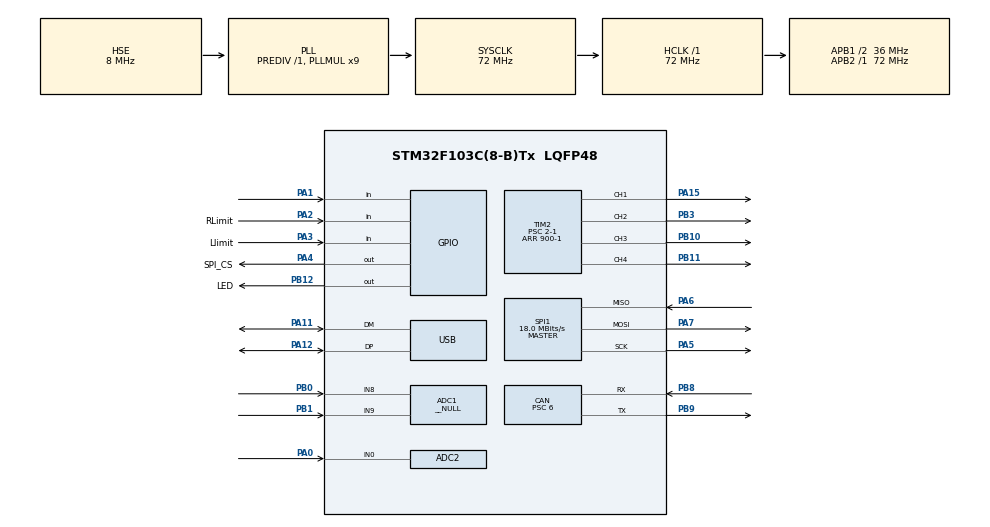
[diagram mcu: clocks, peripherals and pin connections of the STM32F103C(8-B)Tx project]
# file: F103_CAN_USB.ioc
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ADC1.Channel-1\#ChannelInjectedConversion=ADC_CHANNEL_8
ADC1.Channel-5\#ChannelRegularConversion=ADC_CHANNEL_TEMPSENSOR
ADC1.Channel-7\#ChannelInjectedConversion=ADC_CHANNEL_9
ADC1.ContinuousConvMode=DISABLE
ADC1.EnableInjectedConversion=ENABLE
ADC1.EnableRegularConversion=ENABLE
ADC1.ExternalTrigInjecConv=ADC_INJECTED_SOFTWARE_START
ADC1.InjNumberOfConversion=2
ADC1.InjectedOffset-1\#ChannelInjectedConversion=0
ADC1.InjectedOffset-7\#ChannelInjectedConversion=0
ADC1.InjectedRank-1\#ChannelInjectedConversion=1
ADC1.InjectedRank-7\#ChannelInjectedConversion=2
ADC1.Mode=__NULL
ADC1.NbrOfConversionFlag=1
ADC1.Rank-5\#ChannelRegularConversion=1
ADC1.SamplingTime-1\#ChannelInjectedConversion=ADC_SAMPLETIME_7CYCLES_5
ADC1.SamplingTime-5\#ChannelRegularConversion=ADC_SAMPLETIME_7CYCLES_5
ADC1.SamplingTime-7\#ChannelInjectedConversion=ADC_SAMPLETIME_7CYCLES_5
ADC1.master=1
ADC2.Channel-1\#ChannelRegularConversion=ADC_CHANNEL_0
ADC2.EnableInjectedConversion=DISABLE
ADC2.InjNumberOfConversion=1
ADC2.NbrOfConversionFlag=1
ADC2.Rank-1\#ChannelRegularConversion=1
ADC2.SamplingTime-1\#ChannelRegularConversion=ADC_SAMPLETIME_7CYCLES_5
CAN.BS1=CAN_BS1_7TQ
CAN.BS2=CAN_BS2_4TQ
CAN.CalculateBaudRate=499999
CAN.CalculateTimeBit=2000
CAN.CalculateTimeQuantum=166.66666666666669
CAN.Prescaler=6
CAN.SJW=CAN_SJW_1TQ
IWDG.Prescaler=IWDG_PRESCALER_64
Mcu.Family=STM32F1
Mcu.Name=STM32F103C(8-B)Tx
Mcu.Package=LQFP48
NVIC.ADC1_2_IRQn=true\:0\:0\:true\:false\:true\:true\:true\:true
NVIC.PriorityGroup=NVIC_PRIORITYGROUP_4
NVIC.TIM2_IRQn=true\:1\:0\:true\:false\:true\:true\:true\:true
NVIC.TIM3_IRQn=true\:2\:0\:true\:false\:true\:true\:true\:true
NVIC.USB_LP_CAN1_RX0_IRQn=true\:3\:0\:true\:false\:true\:false\:true\:true
PA0-WKUP.Signal=ADCx_IN0
PA1.Signal=GPIO_Input
PA11.Mode=Device
PA11.Signal=USB_DM
PA12.Mode=Device
PA12.Signal=USB_DP
PA13.Mode=Serial_Wire
PA13.Signal=SYS_JTMS-SWDIO
PA14.Mode=Serial_Wire
PA14.Signal=SYS_JTCK-SWCLK
PA15.Signal=S_TIM2_CH1_ETR
PA2.GPIO_Label=RLimit
PA2.GPIO_PuPd=GPIO_PULLDOWN
PA2.Signal=GPIO_Input
PA3.GPIO_Label=Llimit
PA3.GPIO_PuPd=GPIO_PULLDOWN
PA3.Signal=GPIO_Input
PA4.GPIO_Label=SPI_CS
PA4.Signal=GPIO_Output
PA5.Mode=Full_Duplex_Master
PA5.Signal=SPI1_SCK
PA6.Mode=Full_Duplex_Master
PA6.Signal=SPI1_MISO
PA7.Mode=Full_Duplex_Master
PA7.Signal=SPI1_MOSI
PB0.Signal=ADCx_IN8
PB1.Signal=ADCx_IN9
PB10.Signal=S_TIM2_CH3
PB11.Signal=S_TIM2_CH4
PB12.GPIO_Label=LED
PB12.Signal=GPIO_Output
PB3.Signal=S_TIM2_CH2
PB8.Mode=CAN_Activate
PB8.Signal=CAN_RX
PB9.Mode=CAN_Activate
PB9.Signal=CAN_TX
PD0-OSC_IN.Mode=HSE-External-Oscillator
PD0-OSC_IN.Signal=RCC_OSC_IN
PD1-OSC_OUT.Mode=HSE-External-Oscillator
PD1-OSC_OUT.Signal=RCC_OSC_OUT
ProjectManager.HeapSize=0x400
ProjectManager.StackSize=0x800
ProjectManager.TargetToolchain=MDK-ARM V5.32
RCC.ADCPresc=RCC_ADCPCLK2_DIV6
RCC.AHBFreq_Value=72000000
RCC.APB1CLKDivider=RCC_HCLK_DIV2
RCC.APB1Freq_Value=36000000
RCC.APB1TimFreq_Value=72000000
RCC.APB2Freq_Value=72000000
RCC.APB2TimFreq_Value=72000000
RCC.HCLKFreq_Value=72000000
RCC.PLLMUL=RCC_PLL_MUL9
RCC.PLLSourceVirtual=RCC_PLLSOURCE_HSE
RCC.SYSCLKFreq_VALUE=72000000
RCC.SYSCLKSource=RCC_SYSCLKSOURCE_PLLCLK
RCC.USBFreq_Value=48000000
RCC.USBPrescaler=RCC_USBCLKSOURCE_PLL_DIV1_5
SH.ADCx_IN0.0=ADC2_IN0,IN0
SH.ADCx_IN8.0=ADC1_IN8,IN8
SH.ADCx_IN9.0=ADC1_IN9,IN9
SH.S_TIM2_CH1_ETR.0=TIM2_CH1,PWM Generation1 CH1
SH.S_TIM2_CH2.0=TIM2_CH2,PWM Generation2 CH2
SH.S_TIM2_CH3.0=TIM2_CH3,PWM Generation3 CH3
SH.S_TIM2_CH4.0=TIM2_CH4,PWM Generation4 CH4
SPI1.BaudRatePrescaler=SPI_BAUDRATEPRESCALER_4
SPI1.CLKPhase=SPI_PHASE_2EDGE
SPI1.CLKPolarity=SPI_POLARITY_HIGH
SPI1.CalculateBaudRate=18.0 MBits/s
SPI1.DataSize=SPI_DATASIZE_16BIT
SPI1.Direction=SPI_DIRECTION_2LINES
SPI1.Mode=SPI_MODE_MASTER
SPI1.VirtualType=VM_MASTER
TIM2.AutoReloadPreload=TIM_AUTORELOAD_PRELOAD_ENABLE
TIM2.Channel-PWM\ Generation1\ CH1=TIM_CHANNEL_1
TIM2.Channel-PWM\ Generation2\ CH2=TIM_CHANNEL_2
TIM2.Channel-PWM\ Generation3\ CH3=TIM_CHANNEL_3
TIM2.Channel-PWM\ Generation4\ CH4=TIM_CHANNEL_4
TIM2.CounterMode=TIM_COUNTERMODE_CENTERALIGNED1
TIM2.OCFastMode_PWM-PWM\ Generation1\ CH1=TIM_OCFAST_DISABLE
TIM2.OCFastMode_PWM-PWM\ Generation2\ CH2=TIM_OCFAST_DISABLE
TIM2.OCFastMode_PWM-PWM\ Generation3\ CH3=TIM_OCFAST_DISABLE
TIM2.OCFastMode_PWM-PWM\ Generation4\ CH4=TIM_OCFAST_DISABLE
TIM2.OCMode_PWM-PWM\ Generation1\ CH1=TIM_OCMODE_PWM1
TIM2.OCMode_PWM-PWM\ Generation2\ CH2=TIM_OCMODE_PWM1
TIM2.OCMode_PWM-PWM\ Generation3\ CH3=TIM_OCMODE_PWM1
TIM2.OCMode_PWM-PWM\ Generation4\ CH4=TIM_OCMODE_PWM1
TIM2.Period=900-1
TIM2.Prescaler=2-1
TIM2.TIM_MasterOutputTrigger=TIM_TRGO_RESET
TIM2.TIM_MasterSlaveMode=TIM_MASTERSLAVEMODE_DISABLE
TIM3.CounterMode=TIM_COUNTERMODE_UP
TIM3.Period=499
TIM3.Prescaler=71
USB_DEVICE.CLASS_NAME_FS=CDC
USB_DEVICE.MANUFACTURER_STRING=JHM
USB_DEVICE.PRODUCT_STRING_CDC_FS=JHM_42_FOC
USB_DEVICE.VirtualMode=Cdc
USB_DEVICE.VirtualModeFS=Cdc_FS
VP_ADC1_TempSens_Input.Mode=IN-TempSens
VP_IWDG_VS_IWDG.Mode=IWDG_Activate
VP_TIM2_VS_ClockSourceINT.Mode=Internal
VP_TIM3_VS_ClockSourceINT.Mode=Internal
VP_USB_DEVICE_VS_USB_DEVICE_CDC_FS.Mode=CDC_FS
board=custom

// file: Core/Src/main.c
/* USER CODE BEGIN Header */
/**
  ******************************************************************************
  * @file           : main.c
  * @brief          : Main program body
  ******************************************************************************
  * @attention
  *
  * Copyright (c) 2025 STMicroelectronics.
  * All rights reserved.
  *
  * This software is licensed under terms that can be found in the LICENSE file
  * in the root directory of this software component.
  * If no LICENSE file comes with this software, it is provided AS-IS.
  *
  ******************************************************************************
  */

	/*！！！！！！作者声明！！！！！！！！ */
/**
  ******************************************************************************
  * JH_FOC_42V3步进电机FOC驱动器开源代码
	* 该代码已实现步进电机开环，电流闭环，速度-电流闭环，角度-电流闭环，电机非线性校准等
  * 注意该代码中的位置环代码绝大部分由AI生成，并非原厂位置环代码，控制效果不如原厂，需要自己优化！！
	* 注意该代码中的位置环代码绝大部分由AI生成，并非原厂位置环代码，控制效果不如原厂，需要自己优化！！
	* 注意该代码中的位置环代码绝大部分由AI生成，并非原厂位置环代码，控制效果不如原厂，需要自己优化！！
  ******************************************************************************
	* 代码绝大部分都是作者书写，或有不足，敬请指正！
	* 作者能力有限，代码可能阅读性不是特别友好，望包涵！
	  ******************************************************************************

	* 最后重点声明：该代码仅用于学习交流，禁止任何商业用途！！！！！
									该代码仅用于学习交流，禁止任何商业用途！！！！！
									该代码仅用于学习交流，禁止任何商业用途！！！！！
									该代码仅用于学习交流，禁止任何商业用途！！！！！
									该代码仅用于学习交流，禁止任何商业用途！！！！！
  ******************************************************************************

																					版权所有
																							淘宝店铺：JHive智控
																				      店铺链接：https://shop355919857.taobao.com/?spm=a21xtw.29978518.0.0
	                                                                 2026年7月8日

	******************************************************************************
  */
/* USER CODE END Header */
#include "main.h"
#include "adc.h"
#include "can.h"
#include "iwdg.h"
#include "spi.h"
#include "tim.h"
#include "usb_device.h"
#include "gpio.h"

/* USER CODE BEGIN Includes */
#include "float_char.h"
#include "adc_task.h"
#include "B_motor_foc.h"
#include "mos_set.h"
#include "mt6816.h"
#include "PID.h"
#include "connecting.h"
#include "filter.h"
#include "myflash.h"
#include "usbd_cdc_if.h"
#include "math.h"
#include "position_foc.h"
/* USER CODE END Includes */

/* USER CODE BEGIN PTD */
uint32_t add_angle;//角度累加，初始化用
float current[2],vol=0,temperature=0 ;//定义ADC物理量
uint8_t Iadjust=1;//电流校准标记
uint8_t cchar[8][4]={0};//定义浮点数转换后的数据缓存
uint8_t tail[4]={0x00, 0x00, 0x80, 0x7f};
extern int16_t  Scope[200];
extern uint16_t angledata[200];
extern uint16_t my_can_id;//CAN总线ID
extern float speed_send;
uint8_t yy=0;
uint8_t erro_flag=0;//发生错误标记
uint8_t limit_vol=0;//积分限幅电压
extern uint32_t save_data[20];

//////////////////////////////
uint8_t connect_type=0;//定义通信类型0：USB，1:CAN
float last_vol=10;//电压滤波

//////////////弱磁部分
float w_Uq=0;//Uq轴弱磁输出量
PID_Controller_t weak_mag_id; //id弱磁pid
PID_Controller_t weak_mag_iq;//iq弱磁pid
PID_Controller_t weak_mag_uq;//uq弱磁pid

uint16_t weak1_speed_save=400;  //保存的电机弱磁1临界速度
uint16_t weak2_speed_save=1000;  //保存的电机弱磁2临界速度
uint16_t  weak_speed_1 =400 ;         /////最终第一步弱磁临界速度
uint16_t weak_speed_2 =1000;         /////最终第二步弱磁临界速度
//读取错误时弱磁默认值
#define default_weak1 400
#define default_weak2 920

#define weak_Iq_min 0.2         //二阶段弱磁最小Iq电流，这个值和高速电流采样的精度相关，理论上越小越好，可以增大极限转速！如果该值太小，采样电流不准确则大概率会超速失调！
float spid_factor=0,s_kp0=0,s_ki0=0,s_kp=0,s_ki=0,s_kp1=0,s_ki1=0;//速度环PID调节因子，根据驱动电压适当调节
uint8_t t_speed=30;//低速PID参数转变速度
/* USER CODE END PTD */

/* USER CODE BEGIN PD */
uint16_t time_num=1;
/* USER CODE END PD */

/* USER CODE BEGIN PM */
////////定义保护函数
float check_iq=0,check_id=0;//过流检测变量，滤波存储用
void motor_protect(void)
{
  if(temperature >80||fabs(check_iq) >4||fabs(check_id)>4||(vol>40||vol<4))
	{
		//存在保护，关闭电机运行
		 connect_crt .motor_mode =0;
		 set_uduq (&m1_foc ,0,0);
		 foc_open  (&m1_foc ,0);
		 weak_mag_id .integral =0;weak_mag_iq.integral  =0;weak_mag_uq .integral =0;
		 w_Uq =0;speed_pi.actual_value=0;
		 m1_foc .tar_Id=0;m1_foc .tar_Iq=0;m1_foc .iq_inter=m1_foc .id_inter=0;
	//	stop_motor (&connect_crt );

//								uint8_t data[64] = {0};  // 适当增大缓冲区
//						char s[10] = {0};        // 增大缓冲区确保足够空间
//						char p[18] = {0};
//						char a[10] = {0};
//						char e[10] = {0};
//						char q[10] = {0};//返回Iq
//						int length = 0;

//						// 格式化字符串，保留三位小数
//						snprintf(s, sizeof(s), "%.3f", vol);
//						snprintf(p, sizeof(p), "%.3f", m1_foc .Iq);
//						snprintf(a, sizeof(a), "%.3f", m1_foc .Id);
//						snprintf(e, sizeof(e), "%.2f", temperature );
//
//						// 构建完整字符串
//						length = snprintf((char*)data, sizeof(data),
//							"v:%sid:%siq:%se:%st:%s\n",
//														 s, p, a, e,q);
//														CDC_Transmit_FS(data, length);  // 已经包含换行符

		if(erro_flag ==0)
		{
			if(connect_type ==0)
  	  CDC_Transmit_FS ("Protecting!\n",13);
			else
			{
			set_cantx_buf (0xff,0xff,0xff,0xff,0xff,0xff,0xff,0xff);//返回模式不匹配错误代码
			CAN_Transmit(&my_can_tx );
			}
		}
		erro_flag =1;
	}
	else if(mt6816_flag ==1)
		erro_flag =0;
}

//定义上电通信类型检测函数
void get_connect_type(void)
{
  uint8_t num=0;
	for(uint8_t i=0;i<200;i++)
	if(HAL_GPIO_ReadPin (GPIOA ,GPIO_PIN_1 )==1)
	{
		num++;
		HAL_Delay (1);
	}
	if(num>190)connect_type =0;
	else connect_type =1;

}
/* USER CODE END PM */

/* USER CODE BEGIN PV */
extern PCD_HandleTypeDef hpcd_USB_FS;
/* USER CODE END PV */

void SystemClock_Config(void);

int main(void)
{

  /* MCU Configuration--------------------------------------------------------*/

  /* Reset of all peripherals, Initializes the Flash interface and the Systick. */
  HAL_Init();

  /* Configure the system clock */
  SystemClock_Config();

  /* USER CODE BEGIN SysInit */
	//弱磁PID初始化
	 PID_Controller_Init(&weak_mag_id ,0.01,0.000005,0,0,-1.2,1.2);
	 PID_Controller_Init(&weak_mag_iq ,0.01,0.00001,0,0,-0,0.0);
	 PID_Controller_Init(&weak_mag_uq ,0.004,0.00002,0,0,-4,4);
  /* USER CODE END SysInit */

  /* Initialize all configured peripherals */
  MX_GPIO_Init();
  MX_ADC1_Init();
  MX_IWDG_Init();
  MX_SPI1_Init();
  MX_TIM2_Init();
 // MX_USB_DEVICE_Init();
  MX_ADC2_Init();
  MX_TIM3_Init();
  //MX_CAN_Init();
  /* USER CODE BEGIN 2 */
	  Flash_HAL_Read_N_32Data(0x0800FC00,(uint32_t *)save_data,20);//先读取保存的数据
		  my_can_id =*(volatile uint16_t*)0x0800FC04;//获取CANID
	  if(my_can_id >0x7ff)my_can_id =0x200;
		  //获取CAN时钟分频系数
			can_Prescaler =(*(__IO uint8_t *)(FLASH_USER_START_ADDR +0x44C));;
			if(can_Prescaler !=60&&can_Prescaler !=24&&can_Prescaler !=12&&can_Prescaler !=6&&can_Prescaler !=3)//范围不对，默认分频6，500kbps
				can_Prescaler =6;

			HAL_GPIO_WritePin (GPIOB ,GPIO_PIN_12,GPIO_PIN_SET );

			get_connect_type();
		//注释掉上述自动生产的初始化
	 if(connect_type ==0)//失能CAN通信
	 {
		 		 MX_CAN_Init();
	   HAL_CAN_MspDeInit (&hcan);
		 MX_USB_DEVICE_Init();
	 }
	 else
	 {
		CAN_Init();//初始化总线
	 }
    HAL_Delay (1000);//较大延时等待电脑识别USB
   HAL_TIM_PWM_Start(&htim2, TIM_CHANNEL_4);
	 HAL_TIM_PWM_Start(&htim2, TIM_CHANNEL_3);
	 HAL_TIM_PWM_Start(&htim2, TIM_CHANNEL_2);
	 HAL_TIM_PWM_Start(&htim2, TIM_CHANNEL_1);
	 HN1_set (900);HN2_set (900);HN3_set (900); HN4_set (900);
	 HAL_TIM_Base_Start_IT(&htim2);             //启动时钟

	 	HAL_ADCEx_Calibration_Start(&hadc1);    //ADC校准
	  HAL_ADCEx_Calibration_Start(&hadc2);    //ADC校准
		HAL_ADCEx_InjectedStart_IT(&hadc1);                       //启动ADC转换
	  HAL_Delay (10);
   float offettotal[2]={0};
	 		for(uint8_t k=0;k<100;k++)
		 {
			 HAL_IWDG_Refresh (&hiwdg );
			   offettotal [0]+=current [0];
				 offettotal [1]+=current [1];
			  vol+=get_vol ();
				 HAL_Delay (5);
			}
		 vol=vol*0.01;
			//若有驱动器最大电流问题，限制一下输出电压,按需开启
//			if(vol >16)
//			limit_vol =120/vol+0.5;
//			else limit_vol =8;
			//读取保存的弱磁临界速度
			weak1_speed_save =*(volatile uint16_t*)(FLASH_USER_START_ADDR +0x424);
			weak2_speed_save =*(volatile uint16_t*)(FLASH_USER_START_ADDR +0x428);
			if(weak1_speed_save >4000)weak1_speed_save =default_weak1;if(weak2_speed_save >8000)weak2_speed_save =default_weak2;

			spid_factor =12/vol;if(spid_factor >1)spid_factor =1;if(spid_factor <0.4)spid_factor =0.4;//根据输入电压调整一下速度环pid参数
			s_kp=spid_factor *0.008;s_ki=spid_factor *0.00004;
			s_kp0 =spid_factor*0.02;s_ki0=spid_factor*0.001;
			s_kp1 =spid_factor*0.04;s_ki1=spid_factor*0.0008;
			weak_speed_1 =weak1_speed_save +(vol-12)*10;weak_speed_2 =weak2_speed_save +(vol-12)*15;//根据电压简单改变弱磁转变速度
			//if(weak_speed_1>500)weak_speed_1 =500;//限制，防止跑飞
			t_speed =vol/12*30;

    offet_I [0]=0.01*offettotal [0];offet_I [1]=0.01*offettotal [1] ;
	  Iadjust =0;//完成校准

	 mt6816_flag =check_mt6816();//检查是否存在编码器
	 if(mt6816_flag ==0||(vol<5||vol>25))
		 erro_flag =1;

	 b_foc_init ();
	 init_connect_crt(&connect_crt );
	  HAL_TIM_Base_Start_IT(&htim3);

	 start_reset_waiting();//巡查是否需要复位，等待执行

  /* USER CODE END 2 */

  /* Infinite loop */
  /* USER CODE BEGIN WHILE */
  while (1)
  {

		HAL_IWDG_Refresh (&hiwdg );
		if(time_num %100==0)
		{
			vol=low_pass_filter(get_vol (),last_vol ,0.1);
			check_iq =low_pass_filter(m1_foc .Iq ,check_iq ,0.5);
			check_id =low_pass_filter(m1_foc .Id ,check_id ,0.5);
			last_vol =vol;
			temperature =get_temp ();
			motor_protect ();//检测各种参数保护
			weak_mag_id .output_max =speed_pi .output_max;weak_mag_id .output_min =speed_pi .output_min ;//循环限制弱磁Id的范围,防止大于iq，第一阶段弱磁反转
		}
		if(connect_type ==0)//采用USB通信模式
		usb_task ();
		else
		can_task ();

    speed_send =low_pass_filter (speed_pi .actual_value ,speed_send ,0.1);
		//yy++;if(yy>=200)yy=0;
			//	HAL_Delay (1);
//		    float_to_char(m1_foc .Id         ,cchar [0]);
//			  float_to_char(m1_foc .Iq      ,cchar [1]);
//				float_to_char(m1_foc .tar_Id        ,cchar [2]);
//				float_to_char(m1_foc .tar_Iq       ,cchar [3]);
//				float_to_char(m1_foc .Ud    ,cchar [4]);
//				float_to_char(m1_foc .Uq           ,cchar [5]);
//				float_to_char(m1_foc .Ibeta        ,cchar [6]);
//		    float_to_char(m1_foc .Ialpha         ,cchar [7]);
//				copy_to_vofa (cchar [0],0);
//		    copy_to_vofa (cchar [1],4);
//		    copy_to_vofa (cchar [2],8);
//		    copy_to_vofa (cchar [3],12);
//				    copy_to_vofa (cchar [4],16);
//				    copy_to_vofa (cchar [5],20);
//		    copy_to_vofa (cchar [6] ,24);
//			    copy_to_vofa (cchar [7] ,28);
//				    copy_to_vofa (tail ,32);
//		    CDC_Transmit_FS(vofa_char ,36);
		time_num ++;
    if(time_num >10000){time_num =1; }
//		if(time_num %5000==0)
//		{ if(m1_foc .tar_Id !=1)
//			m1_foc .tar_Id =1;
//			else 			m1_foc .tar_Id =-1;
//		}
		//if(time_num %5000==0)HAL_GPIO_TogglePin (GPIOB ,GPIO_PIN_12);
     if(erro_flag ==0)
			 HAL_GPIO_WritePin (GPIOB ,GPIO_PIN_12,GPIO_PIN_RESET );
		 else
			 HAL_GPIO_WritePin (GPIOB ,GPIO_PIN_12,GPIO_PIN_SET );
    /* USER CODE END WHILE */

  }
}

void SystemClock_Config(void)
{
  RCC_OscInitTypeDef RCC_OscInitStruct = {0};
  RCC_ClkInitTypeDef RCC_ClkInitStruct = {0};
  RCC_PeriphCLKInitTypeDef PeriphClkInit = {0};

  /** Initializes the RCC Oscillators according to the specified parameters
  * in the RCC_OscInitTypeDef structure.
  */
  RCC_OscInitStruct.OscillatorType = RCC_OSCILLATORTYPE_LSI|RCC_OSCILLATORTYPE_HSE;
  RCC_OscInitStruct.HSEState = RCC_HSE_ON;
  RCC_OscInitStruct.HSEPredivValue = RCC_HSE_PREDIV_DIV1;
  RCC_OscInitStruct.HSIState = RCC_HSI_ON;
  RCC_OscInitStruct.LSIState = RCC_LSI_ON;
  RCC_OscInitStruct.PLL.PLLState = RCC_PLL_ON;
  RCC_OscInitStruct.PLL.PLLSource = RCC_PLLSOURCE_HSE;
  RCC_OscInitStruct.PLL.PLLMUL = RCC_PLL_MUL9;
  if (HAL_RCC_OscConfig(&RCC_OscInitStruct) != HAL_OK)
  {
    Error_Handler();
  }

  /** Initializes the CPU, AHB and APB buses clocks
  */
  RCC_ClkInitStruct.ClockType = RCC_CLOCKTYPE_HCLK|RCC_CLOCKTYPE_SYSCLK
                              |RCC_CLOCKTYPE_PCLK1|RCC_CLOCKTYPE_PCLK2;
  RCC_ClkInitStruct.SYSCLKSource = RCC_SYSCLKSOURCE_PLLCLK;
  RCC_ClkInitStruct.AHBCLKDivider = RCC_SYSCLK_DIV1;
  RCC_ClkInitStruct.APB1CLKDivider = RCC_HCLK_DIV2;
  RCC_ClkInitStruct.APB2CLKDivider = RCC_HCLK_DIV1;

  if (HAL_RCC_ClockConfig(&RCC_ClkInitStruct, FLASH_LATENCY_2) != HAL_OK)
  {
    Error_Handler();
  }
  PeriphClkInit.PeriphClockSelection = RCC_PERIPHCLK_ADC|RCC_PERIPHCLK_USB;
  PeriphClkInit.AdcClockSelection = RCC_ADCPCLK2_DIV6;
  PeriphClkInit.UsbClockSelection = RCC_USBCLKSOURCE_PLL_DIV1_5;
  if (HAL_RCCEx_PeriphCLKConfig(&PeriphClkInit) != HAL_OK)
  {
    Error_Handler();
  }
}

/* USER CODE BEGIN 4 */

uint8_t pos_update_count=0;//浣嶇疆鏇存柊璁℃暟
uint16_t scount=0;//到达目标后计数
uint8_t acc_flag=0;//速度无法达到目标标记
uint16_t b_step=0;//
uint8_t count_t=0;
uint32_t timer_value=0;
extern float uq_max,uq_min;
float uref=0;
uint32_t t_count=0;//定时器中断计数

void HAL_TIM_PeriodElapsedCallback(TIM_HandleTypeDef *htim)
{
	if(htim ==&htim2 )//用来触发ADC电流采集，多此一举，因为TIM2设置事件更新时无法触发ADC自动注入采集，不知道为什么
	{
		 timer_value = TIM2->CNT;

		 if(timer_value<100 )//在中断高电平启动转换，这里由于不是PWM中断触发采样，实际实测触发频率约10KHZ左右
		 {
	     HAL_ADCEx_InjectedStart_IT(&hadc1);  		//启动ADC转换
		 }
	}
	else if(htim ==&htim3 )//2KHZ
	{

		       check_limit();//限位检查
		       get_zero_by_current();
			////		/////速度环
					 if(connect_crt .motor_mode ==3||connect_crt .motor_mode ==2){//速度环位置环都需要执行
									// 判断是否达到要设定速度
						      if(connect_crt .motor_mode ==2&&speed_pi .target!=connect_crt .speed){
										  if(speed_pi .target >connect_crt .speed )
											 {
											  speed_pi .target -=connect_crt .s_acc  *0.0005;
												if(speed_pi .target <connect_crt .speed )speed_pi .target =connect_crt .speed ;
											 }
											else if(speed_pi .target <connect_crt .speed )
											{
												speed_pi .target +=connect_crt .s_acc  *0.0005;
												if(speed_pi .target >connect_crt .speed )speed_pi .target =connect_crt .speed ;
											}
											acc_flag =0;scount =0;
									}
									else if(scount <20000)//延迟10s
									{
									  scount ++;
									}
									else if(acc_flag ==0&&((connect_crt .speed>0&&speed_pi .target >speed_pi .actual_value+200)||(connect_crt .speed<0&&speed_pi .target <speed_pi .actual_value -200)))
									{
											speed_pi .target =speed_pi .actual_value+ ((speed_pi .actual_value>=0) ? 100:-100);
											acc_flag =1;
											connect_crt .speed =speed_pi .target;
				 					}
									else acc_flag =1;

									float speed_error = speed_pi.target  - speed_pi.actual_value;
									if(speed_error >200)speed_error =200;else if(speed_error <-200)speed_error =-200;//限制误差，防止突变失控

									////////////两步弱磁模型，分段调控，不同电机需要调参才能更丝滑，调试时如果失控请关闭电源或者直接切换到空闲模式。
									////////////该模型存在缺点，因为是分段控制，加减速或者负载较大时可能速度有不连续性或者震荡，作者能力有限，欢迎各位大佬修正或者分享更好的方案
									float omg=fabs (speed_pi .target);if(omg<t_speed){if(connect_crt .motor_mode!=3){speed_pi.kp=s_kp0 ;speed_pi .ki =s_ki0 ;}else{speed_pi.kp=s_kp1 ;speed_pi .ki =s_ki1;}}else{speed_pi.kp=s_kp ;speed_pi .ki =s_ki;}

										if(omg<weak_speed_1||((speed_pi .actual_value <-1000&&speed_pi .target >=0)||(speed_pi .actual_value >1000&&speed_pi .target <=0)) )//不启用弱磁
										{
											w_Uq*=0.1;
											if(fabs (speed_pi .actual_value )<weak_speed_1+100)
											{
												m1_foc .tar_Id*=0.999;
										    m1_foc .tar_Iq = PID_Controller_Update(&speed_pi, speed_error);
											}
											else
											{
												if(m1_foc .tar_Id<1.8)
												m1_foc .tar_Id+=0.01;
												else
												m1_foc .tar_Id=1.8;//增大Id恢复Ud值
												//兜底，速度从第二阶段直接切换到反方向目标值时增加一个突变，加速度非常大时存在这种情况防止跑飞
												if(speed_pi .actual_value <-600&&speed_pi .target >=0){ m1_foc .Iq=0.8;w_Uq =-10;}
												else if(speed_pi .actual_value >600&&speed_pi .target <=0){m1_foc .Iq=-0.8;w_Uq =10;}
											}
										}
										else if(omg<=weak_speed_2)//第一步弱磁,最大Iq,调节Id间接减小Ud
										{
											w_Uq*=0.1;weak_mag_uq.integral=0;

											 if(speed_pi .target >=0)
											 {
												 if(m1_foc .tar_Iq<connect_crt .max_current)
											   m1_foc .tar_Iq+=0.01;
												 else m1_foc .tar_Iq=connect_crt .max_current;
											 }
											 else
											 {
												 if(m1_foc .tar_Iq>-connect_crt .max_current)
											   m1_foc .tar_Iq-=0.01;
												 else m1_foc .tar_Iq=-connect_crt .max_current;
											 }
												if(speed_pi .target >0)weak_mag_id .erro =-speed_error ;//识别反馈方向
												else weak_mag_id .erro =speed_error ;
												m1_foc .tar_Id   =PID_Controller_Update(&weak_mag_id ,weak_mag_id .erro );
										}
										else //第二步弱磁，减小Iq，调节Uq
										{
                      if(m1_foc .tar_Id >-2)		//直接设置强弱磁电流
											m1_foc .tar_Id -=0.01;
											else
											m1_foc .tar_Id=-2;
											weak_mag_iq .erro =-speed_error ;//反馈方向
											if(speed_pi .target >0){weak_mag_iq .output_max =2;weak_mag_iq .output_min=weak_Iq_min;if(w_Uq >-4)w_Uq -=0.5;else w_Uq =-4;}
											else if(speed_pi .target <0){weak_mag_iq .output_max =-weak_Iq_min;weak_mag_iq .output_min=-2;if(w_Uq <4)w_Uq +=0.5;else w_Uq =4;}
											m1_foc .tar_Iq =PID_Controller_Update(&weak_mag_iq ,weak_mag_iq.erro );
											//w_Uq =PID_Controller_Update(&weak_mag_uq ,weak_mag_iq.erro );	//增加直接调节Uq的PID弱磁

										}

					////////////位置环1ms/1000Hz
            if(connect_crt .motor_mode ==3){
						pos_update_count++;
						if(pos_update_count >=2)
						{
							pos_update_count=0;
							PositionControl_Update(&position_ctrl);
						}
					}

				}

				else if(connect_crt .motor_mode ==4){

					//角度换
			   	AngleControl_Update(&AngleControl);//角度换控制
					m1_foc .tar_Iq =AngleControl.Iq_ref-0.001*speed_pi .actual_value ;//添加速度阻尼
				}

	}
}
uint8_t jj=0;
extern uint8_t encoder_adjust_flag;
void HAL_ADCEx_InjectedConvCpltCallback(ADC_HandleTypeDef* hadc)//ADC中断回调，运行电流环
{
	if(hadc == &hadc1 ){
		if(encoder_adjust_flag )
		mt6816_count =REIN_MT6816_GetAngleData();
	 if(connect_crt .motor_mode !=0&&Iadjust==0){

		// HAL_GPIO_WritePin (GPIOB,GPIO_PIN_12,GPIO_PIN_SET );
		 jj++;
		 if(jj>=5)
		 {
		  Encoder_Update();//编码器累计计数
		 //得到实际速度
      speed_pi .actual_value = low_pass_filter (Calculate_Speed(0.000515),speed_pi .actual_value ,0.1);//计算速度时间=10/实际频率*0.0005
			//speed_pi .actual_value = Calculate_Speed(0.002);//计算速度
			 jj=0;
		 }
//
		 ////////////////////步进电机电流环部分
		 		  get_AB_current(&m1_foc );
					Sector_tracker();
		 	//	 HAL_GPIO_WritePin (GPIOB,GPIO_PIN_12,GPIO_PIN_RESET );//测试得出该计算量占据约0.02ms时间
					b_step =(m1_foc .angle + 256 * (m1_foc.angle_sector % 4) + m1_foc.lead_angle+(int8_t )(0.006*speed_pi .actual_value)) % 1024;//电气角度计算+运算延时电角度补偿
					current_ctr  (&m1_foc ,b_step);

//
//    set_uduq (&m1_foc,0,4);
//	  foc_open(&m1_foc ,b_step);
//		b_step +=4;if(b_step >1023)b_step =0;

       //   HAL_GPIO_TogglePin(GPIOB,GPIO_PIN_12);
	 }
	 else if(Iadjust ==1)
	 {
	     adjust_I ();
	 }
	 else
	 {

//    set_uduq (&m1_foc,0,4);
//	  foc_open(&m1_foc ,b_step);
//		b_step +=8;if(b_step >1023)b_step =0;
//		 	   get_AB_current(&m1_foc );
	//	HAL_GPIO_TogglePin(GPIOC,GPIO_PIN_9);
	 }

  }

}

/* USER CODE END 4 */

void Error_Handler(void)
{
  __disable_irq();
  while (1)
  {
  }
}
